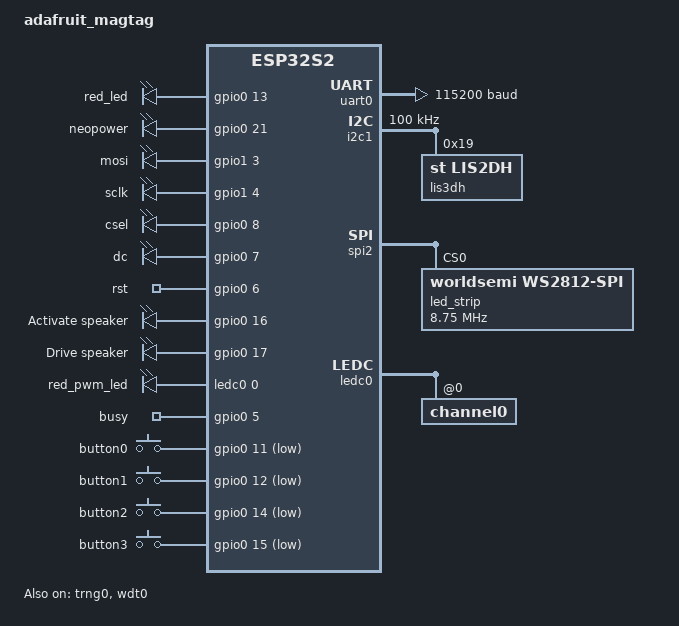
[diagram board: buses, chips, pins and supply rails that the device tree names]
/*
 * Copyright (c) 2023 Golioth, Inc.
 *
 * SPDX-License-Identifier: Apache-2.0
 */

/dts-v1/;

#include <espressif/esp32s2.dtsi>
#include <zephyr/dt-bindings/pwm/pwm.h>
#include "adafruit_magtag-pinctrl.dtsi"

/ {
    model = "adafruit_magtag";
    compatible = "adafruit,magtag";

    aliases {
        watchdog0 = &wdt0;
        led0 = &red_led;
        pwm-led0 = &red_pwm_led;
        led-strip = &led_strip;
        sw0 = &button0;
        sw1 = &button1;
        sw2 = &button2;
        sw3 = &button3;
        neopower = &neopower;
        mosi = &mosi;
        sclk = &sclk;
        csel = &csel;
        busy = &busy;
        dc = &dc;
        rst = &rst;
        activate = &active;
        sound = &sound;
    };

    chosen {
        zephyr,sram = &sram0;
        zephyr,console = &uart0;
        zephyr,shell-uart = &uart0;
        zephyr,flash = &flash0;
    };

    leds {
        compatible = "gpio-leds";
        red_led: led_0 {
            gpios =  <&gpio0 13 GPIO_ACTIVE_HIGH>;
        };
        neopower: neo_power {
            gpios = <&gpio0 21 GPIO_ACTIVE_HIGH>;
        };
        mosi: mosi_p {
            gpios = <&gpio1 3 GPIO_ACTIVE_HIGH>;
        };
        sclk: sclk_p {
            gpios = <&gpio1 4 GPIO_ACTIVE_HIGH>;
        };
        csel: csel_p {
            gpios = <&gpio0 8 GPIO_ACTIVE_HIGH>;
        };
        dc: dc_pin {
            gpios = <&gpio0 7 GPIO_ACTIVE_HIGH>;
        };
        rst: reset {
            gpios = <&gpio0 6 GPIO_ACTIVE_HIGH>;
        };
        active: active_pin {
            gpios = <&gpio0 16 GPIO_ACTIVE_HIGH>;
            label = "Activate speaker";
        };
        sound: sound_pin {
            gpios = <&gpio0 17 GPIO_ACTIVE_HIGH>;
            label = "Drive speaker";
        };
    };

    pwmleds {
        compatible = "pwm-leds";
        red_pwm_led: pwm_led_0 {
            pwms = <&ledc0 0 PWM_HZ(100) PWM_POLARITY_NORMAL>;
        };
    };

    gpio_keys {
        compatible = "gpio-keys";
        busy: busy_pin {
            gpios = <&gpio0 5 GPIO_ACTIVE_HIGH>;
        };
        button0: button_0 {
            gpios = <&gpio0 11 (GPIO_ACTIVE_LOW | GPIO_PULL_UP)>;
        };
        button1: button_1 {
            gpios = <&gpio0 12 (GPIO_ACTIVE_LOW | GPIO_PULL_UP)>;
        };
        button2: button_2 {
            gpios = <&gpio0 14 (GPIO_ACTIVE_LOW | GPIO_PULL_UP)>;
        };
        button3: button_3 {
            gpios = <&gpio0 15 (GPIO_ACTIVE_LOW | GPIO_PULL_UP)>;
        };
    };
};

&cpu0 {
    clock-frequency = <ESP32_CLK_CPU_240M>;
};

&uart0 {
    pinctrl-0 = <&uart0_default>;
    pinctrl-names = "default";
    status = "okay";
    current-speed = <115200>;
};

&i2c1 {
    pinctrl-0 = <&i2c1_default>;
    pinctrl-names = "default";
    status = "okay";
    clock-frequency = <I2C_BITRATE_STANDARD>;

    lis3dh@19 {
            compatible = "st,lis2dh";
            reg = <0x19>;
    };
};

&spi2 {
    pinctrl-0 = <&spim2_default>;
    pinctrl-names = "default";
    status = "okay";
    #address-cells = <1>;
    #size-cells = <0>;

    led_strip: ws2812@0 {
        compatible = "worldsemi,ws2812-spi";

        /* SPI */
        reg = <0>; /* ignored, but necessary for SPI bindings */
        spi-max-frequency = <8750000>;

        /* WS2812 */
        chain-length = <4>; /* arbitrary; change at will */
        spi-one-frame = <0xF8>;
        spi-zero-frame = <0xE0>;
        color-mapping = <2 1 3>;
    };
};

&ledc0 {
    pinctrl-0 = <&ledc0_default>;
    pinctrl-names = "default";
    status = "okay";
    #address-cells = <1>;
    #size-cells = <0>;

    channel0@0 {
        reg = <0x0>;
        timer = <0>;
    };
};

&gpio0 {
    status = "okay";
};

&gpio1 {
    status = "okay";
};

&trng0 {
    status = "okay";
};

&wdt0 {
    status = "okay";
};

&flash0 {
    status = "okay";
    partitions {
        compatible = "fixed-partitions";
        #address-cells = <1>;
        #size-cells = <1>;

        /* Reserve 60kB for the bootloader */
        boot_partition: partition@1000 {
            reg = <0x00001000 0x0000F000>;
            read-only;
        };

        /* Reserve 1024kB for the application in slot 0 */
        slot0_partition: partition@10000 {
            reg = <0x00010000 0x00100000>;
        };

        /* Reserve 1024kB for the application in slot 1 */
        slot1_partition: partition@110000 {
            reg = <0x00110000 0x00100000>;
        };

        /* Reserve 256kB for the scratch partition */
        scratch_partition: partition@210000 {
            reg = <0x00210000 0x00040000>;
        };

        storage_partition: partition@250000 {
            reg = <0x00250000 0x00006000>;
        };
    };
};
